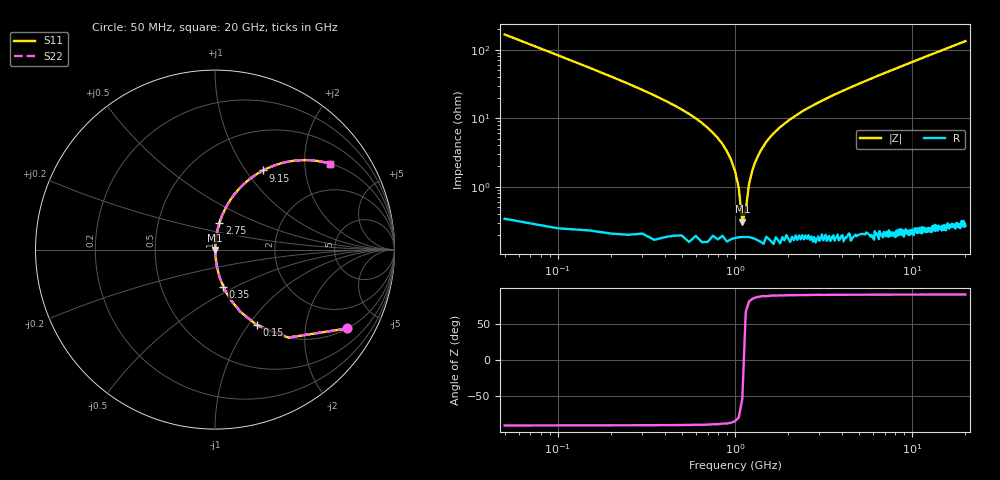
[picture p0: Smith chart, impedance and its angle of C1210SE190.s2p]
! AVX Thin Film Operation		Date: April 2012
! Description: Accu-P® Series, Thin Film, SMD, RF Capacitor
! Part Number: 12101J190FBTTR
!	50	MHz	-	20.05	GHz
!	Serial	Measurements
#	MHZ	S	MA	R	50
!	S11	S21	S12	S22
!	dB	Phase	dB	Phase	dB	Phase	dB	Phase
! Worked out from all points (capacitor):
!   400 points, 50 MHz to 20 GHz, reference 50 ohm
!   read as one part in series: C = 19 pF near 150 MHz
!   lowest |Z| = 308 mohm at 1.1 GHz (marker M1)
!   series resonance near 1.119 GHz, so ESL is about 1.1 nH
!   S11 on the Smith chart (normalised r, x): 50 MHz: 1.01, -3.34; 150 MHz: 1.00, -1.10; 350 MHz: 1.00, -0.43; 2.75 GHz: 1.00, +0.31; 9.15 GHz: 1.00, +1.21; 20 GHz: 1.00, +2.67
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50  0.857 -30.9  0.513 59.0  0.513 59.0  0.857 -30.9
100  0.638 -50.2  0.768 39.7  0.768 39.7  0.638 -50.2
150  0.48 -61.1  0.875 28.7  0.875 28.7  0.48 -61.1
350  0.211 -77.4  0.976 12.2  0.976 12.2  0.211 -77.4
750  0.061 -84.9  0.996 3.5  0.996 3.5  0.061 -84.9
950  0.025 -84.6  0.998 1.4  0.998 1.4  0.025 -84.6
1050  0.009578 -79.3  0.998 0.5  0.998 0.5  0.009578 -79.3
1100  0.002988 -55.4  0.998 0.1  0.998 0.1  0.002988 -55.4
1150  0.004513 67.8  0.998 -0.2  0.998 -0.2  0.004513 67.8
1200  0.011 80.3  0.998 -0.6  0.998 -0.6  0.011 80.3
1250  0.017 83.3  0.998 -1.0  0.998 -1.0  0.017 83.3
1350  0.028 85.0  0.998 -1.6  0.998 -1.6  0.028 85.0
1500  0.045 85.3  0.997 -2.6  0.997 -2.6  0.045 85.3
2000  0.092 83.7  0.994 -5.3  0.994 -5.3  0.092 83.7
2750  0.152 80.6  0.987 -8.7  0.987 -8.7  0.152 80.6
3400  0.199 78.0  0.978 -11.5  0.978 -11.5  0.199 78.0
6700  0.399 66.2  0.915 -23.5  0.915 -23.5  0.399 66.2
9150  0.516 58.7  0.855 -31.1  0.855 -31.1  0.516 58.7
10050  0.553 56.2  0.831 -33.6  0.831 -33.6  0.553 56.2
13350  0.663 48.3  0.747 -41.5  0.747 -41.5  0.663 48.3
16700  0.743 41.9  0.667 -48.0  0.667 -48.0  0.743 41.9
20000  0.8 36.8  0.599 -53.1  0.599 -53.1  0.8 36.8
